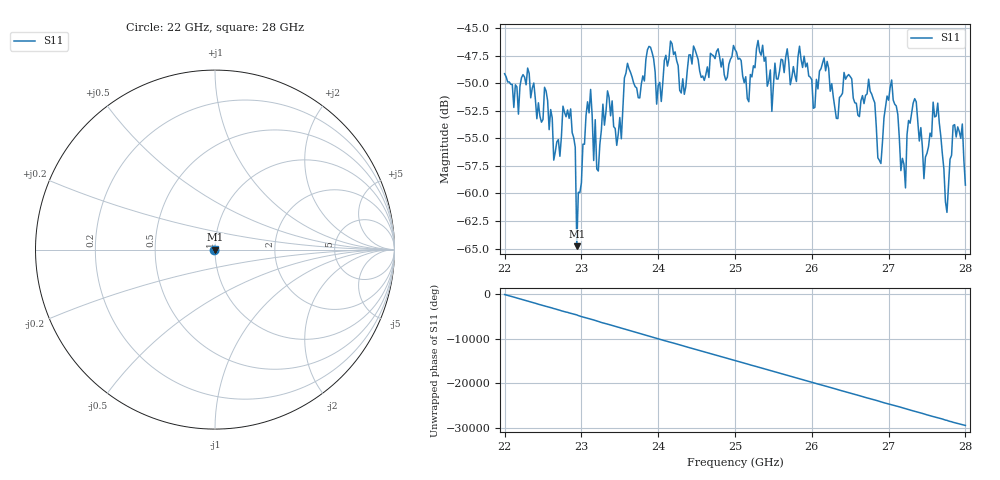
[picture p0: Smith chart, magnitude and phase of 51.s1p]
#  HZ  S  RI  R  50.00
! Rohde & Schwarz ZVA40 4Ports - Version 3.90 - 1145.1110k42 SN: 100403
! Date: 2023-10-04 06:27:02
! Measurement: S12
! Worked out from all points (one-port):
!   301 points, 22 GHz to 28 GHz, reference 50 ohm
!   lowest |S11| = -64.8 dB at 22.94 GHz (marker M1), VSWR 1.00, Z = 50 - j0.0297 ohm
!   |S11| at or under -10 dB: start of sweep to end of sweep
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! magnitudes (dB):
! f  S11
! 22 GHz  -49.1
! 22.52 GHz  -50.4
! 22.64 GHz  -57.0
! 22.76 GHz  -52.1
! 22.92 GHz  -55.8
! 22.94 GHz  -64.8
! 23.12 GHz  -50.6
! 23.22 GHz  -58.0
! 23.34 GHz  -50.7
! 23.5 GHz  -53.1
! 24.26 GHz  -48.4
! 25 GHz  -47.0
! 25.18 GHz  -51.7
! 25.36 GHz  -46.6
! 25.48 GHz  -52.6
! 25.76 GHz  -48.5
! 26.5 GHz  -49.4
! 26.74 GHz  -49.6
! 26.9 GHz  -57.3
! 27.04 GHz  -49.7
! 27.22 GHz  -59.5
! 27.26 GHz  -53.4
! 27.46 GHz  -58.7
! 27.64 GHz  -51.8
! 27.76 GHz  -61.7
! 27.84 GHz  -53.8
! 27.96 GHz  -53.7
! 28 GHz  -59.2
